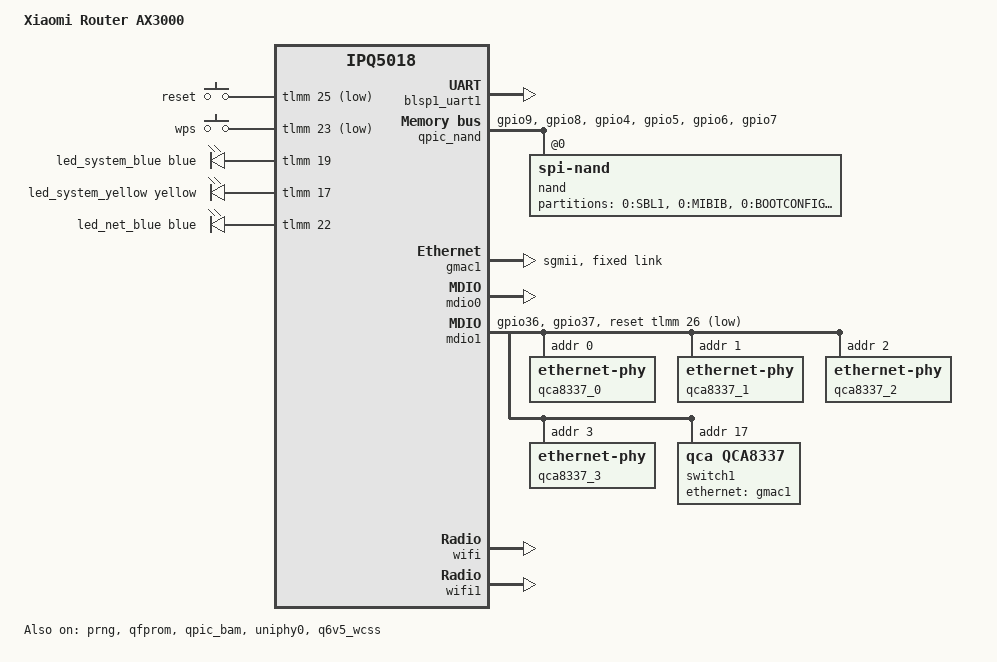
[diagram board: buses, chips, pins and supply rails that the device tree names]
// SPDX-License-Identifier: GPL-2.0-or-later OR MIT

/dts-v1/;

#include "ipq5018.dtsi"
#include "ipq5018-ess.dtsi"
#include "ipq5018-qcn6122.dtsi"

#include <dt-bindings/gpio/gpio.h>
#include <dt-bindings/input/input.h>
#include <dt-bindings/leds/common.h>

/ {
	model = "Xiaomi Router AX3000";
	compatible = "xiaomi,ax3000", "qcom,ipq5018";

	aliases {
		label-mac-device = <&gmac1>;

		led-boot = &led_system_blue;
		led-failsafe = &led_system_yellow;
		led-running = &led_system_blue;
		led-upgrade = &led_system_yellow;

		serial0 = &blsp1_uart1;
	};

	chosen {
		bootargs-append = " console=ttyMSM0,115200n8 ubi.mtd=rootfs ubi.block=0,1 root=/dev/ubiblock0_1 coherent_pool=2M";
		stdout-path = "serial0:115200n8";
	};

	keys {
		compatible = "gpio-keys";
		pinctrl-0 = <&button_pins>;
		pinctrl-names = "default";

		reset {
			label = "reset";
			gpios = <&tlmm 25 GPIO_ACTIVE_LOW>;
			linux,code = <KEY_RESTART>;
			debounce-interval = <60>;
		};

		wps {
			label = "wps";
			gpios = <&tlmm 23 GPIO_ACTIVE_LOW>;
			linux,code = <KEY_WPS_BUTTON>;
			debounce-interval = <60>;
		};
	};

	leds {
		compatible = "gpio-leds";
		pinctrl-0 = <&leds_pins>;
		pinctrl-names = "default";

		led_system_blue: system-blue {
			gpios = <&tlmm 19 GPIO_ACTIVE_HIGH>;
			color = <LED_COLOR_ID_BLUE>;
			function = LED_FUNCTION_STATUS;
			default-state = "off";
		};

		led_system_yellow: system-yellow {
			gpios = <&tlmm 17 GPIO_ACTIVE_HIGH>;
			color = <LED_COLOR_ID_YELLOW>;
			function = LED_FUNCTION_STATUS;
			default-state = "off";
		};

		led_net_blue: net-blue {
			gpios = <&tlmm 22 GPIO_ACTIVE_HIGH>;
			color = <LED_COLOR_ID_BLUE>;
			function = LED_FUNCTION_WAN;
			default-state = "off";
		};
	};
};

&sleep_clk {
	clock-frequency = <32000>;
};

&xo_board_clk {
	clock-div = <4>;
	clock-mult = <1>;
};

&blsp1_uart1 {
	status = "okay";
};

&prng {
	status = "okay";
};

&qfprom {
	status = "okay";
};

&qpic_bam {
	status = "okay";
};

&qpic_nand {
	pinctrl-0 = <&qpic_pins>;
	pinctrl-names = "default";
	status = "okay";

	nand@0 {
		compatible = "spi-nand";
		reg = <0>;
		nand-ecc-engine = <&qpic_nand>;
		nand-bus-width = <8>;

		partitions {
			compatible = "fixed-partitions";
			#address-cells = <1>;
			#size-cells = <1>;

			partition@0 { label = "0:SBL1"; reg = <0x00000000 0x00080000>; read-only; };
			partition@80000 { label = "0:MIBIB"; reg = <0x00080000 0x00080000>; read-only; };
			partition@100000 { label = "0:BOOTCONFIG"; reg = <0x00100000 0x00040000>; read-only; };
			partition@140000 { label = "0:BOOTCONFIG1"; reg = <0x00140000 0x00040000>; read-only; };
			partition@180000 { label = "0:QSEE"; reg = <0x00180000 0x00100000>; read-only; };
			partition@280000 { label = "0:QSEE_1"; reg = <0x00280000 0x00100000>; read-only; };
			partition@380000 { label = "0:DEVCFG"; reg = <0x00380000 0x00040000>; read-only; };
			partition@3c0000 { label = "0:DEVCFG_1"; reg = <0x003c0000 0x00040000>; read-only; };
			partition@400000 { label = "0:CDT"; reg = <0x00400000 0x00040000>; read-only; };
			partition@440000 { label = "0:CDT_1"; reg = <0x00440000 0x00040000>; read-only; };
			partition@480000 { label = "0:APPSBLENV"; reg = <0x00480000 0x00080000>; };
			partition@500000 { label = "0:APPSBL"; reg = <0x00500000 0x00140000>; read-only; };
			partition@640000 { label = "0:APPSBL_1"; reg = <0x00640000 0x00140000>; read-only; };

			partition@780000 {
				label = "0:ART";
				reg = <0x00780000 0x00100000>;
				read-only;

				nvmem-layout {
					compatible = "fixed-layout";
					#address-cells = <1>;
					#size-cells = <1>;

					mac_addr_dp1: mac-address@0 {
						compatible = "mac-base";
						reg = <0x0 0x6>;
						#nvmem-cell-cells = <1>;
					};

					mac_addr_dp2: mac-address@6 {
						compatible = "mac-base";
						reg = <0x6 0x6>;
						#nvmem-cell-cells = <1>;
					};

					caldata_ipq5018: caldata@1000 {
						reg = <0x1000 0x20000>;
					};

					caldata_qcn6122: caldata@26800 {
						reg = <0x26800 0x20000>;
					};
				};
			};

			partition@880000 { label = "0:TRAINING"; reg = <0x00880000 0x00080000>; read-only; };
			partition@900000 { label = "bdata"; reg = <0x00900000 0x00080000>; };
			partition@980000 { label = "crash"; reg = <0x00980000 0x00080000>; };
			partition@a00000 { label = "crash_syslog"; reg = <0x00a00000 0x00080000>; };

			/* 实际刷写位置由 U-Boot 决定：rootfs 在 0x2e80000，36MB */
			partition@2e80000 {
				label = "rootfs";
				reg = <0x02e80000 0x02400000>;
			};

		};
	};
};

&uniphy0 {
	status = "okay";

	assigned-clocks = <&uniphy0 UNIPHY_CLK_REF>;
	assigned-clock-rates = <UNIPHY_REFCLK_25MHZ>;
};

// MAC1 (gmac1) -> SGMII -> QCA8337 CPU port 6
&gmac1 {
	status = "okay";

	phy-mode = "sgmii";

	nvmem-cell-names = "mac-address";
	nvmem-cells = <&mac_addr_dp2 (0)>;

	fixed-link {
		speed = <1000>;
		full-duplex;
	};
};

&mdio0 {
	status = "okay";
};

&mdio1 {
	status = "okay";

	pinctrl-0 = <&mdio1_pins>;
	pinctrl-names = "default";
	reset-gpios = <&tlmm 26 GPIO_ACTIVE_LOW>;

	// QCA8337 PHY0 -> switch port1 -> LAN1
	qca8337_0: ethernet-phy@0 {
		reg = <0>;
	};

	// QCA8337 PHY1 -> switch port2 -> LAN2
	qca8337_1: ethernet-phy@1 {
		reg = <1>;
	};

	// QCA8337 PHY2 -> switch port3 -> LAN3
	qca8337_2: ethernet-phy@2 {
		reg = <2>;
	};

	// QCA8337 PHY3 -> switch port4 -> WAN
	qca8337_3: ethernet-phy@3 {
		reg = <3>;
	};

	// QCA8337 switch (MDIO addr 0x11); CPU port is switch port 6 (SGMII)
	switch1: ethernet-switch@11 {
		compatible = "qca,qca8337";
		reg = <0x11>;
		#address-cells = <1>;
		#size-cells = <0>;

		ethernet-ports {
			#address-cells = <1>;
			#size-cells = <0>;

			ethernet-port@6 {
				reg = <6>;
				phy-mode = "sgmii";
				ethernet = <&gmac1>;
				qca,sgmii-enable-pll;

				fixed-link {
					speed = <1000>;
					full-duplex;
				};
			};

			ethernet-port@1 {
				reg = <1>;
				label = "lan1";
				phy-handle = <&qca8337_0>;
			};

			ethernet-port@2 {
				reg = <2>;
				label = "lan2";
				phy-handle = <&qca8337_1>;
			};

			ethernet-port@3 {
				reg = <3>;
				label = "lan3";
				phy-handle = <&qca8337_2>;
			};

			ethernet-port@4 {
				reg = <4>;
				label = "wan";
				phy-handle = <&qca8337_3>;

				nvmem-cells = <&mac_addr_dp1 (0)>;
				nvmem-cell-names = "mac-address";
			};
		};
	};
};

&q6v5_wcss {
	status = "okay";
};

&wifi {
	status = "okay";

	qcom,rproc = <&q6_wcss_pd1>;
	qcom,ath11k-fw-memory-mode = <2>;
	qcom,bdf-addr = <0x4c400000>;
};

&wifi1 {
	/* 5G(QCN6122)：BDF 走板级 board-2.bin 容器（base-files 里已打包），
	 * 不能用裸 ART 块，否则固件在 phyrf_bdf.c:6245 断言并带崩共用 Q6。
	 */
	status = "okay";

	qcom,rproc = <&q6_wcss_pd2>;
	qcom,userpd-subsys-name = "q6v5_wcss_userpd2";
	qcom,ath11k-fw-memory-mode = <2>;
	qcom,bdf-addr = <0x4d100000>;
	qcom,m3-dump-addr = <0x4df00000>;
};

&tlmm {
	switch_reset_pins: switch-reset-pins {
		pins = "gpio26";
		function = "gpio";
		drive-strength = <8>;
		output-high;
	};

	button_pins: button-pins {
		pins = "gpio25", "gpio23";
		function = "gpio";
		drive-strength = <8>;
		bias-pull-up;
	};

	leds_pins: leds-pins {
		led_blue {
			pins = "gpio19";
			function = "gpio";
			drive-strength = <8>;
			bias-pull-down;
		};

		led_yellow {
			pins = "gpio17";
			function = "gpio";
			drive-strength = <8>;
			bias-pull-down;
		};

		net_blue {
			pins = "gpio22";
			function = "gpio";
			drive-strength = <8>;
			bias-pull-down;
		};
	};

	mdio1_pins: mdio-state {
		mdc-pins {
			pins = "gpio36";
			function = "mdc";
			drive-strength = <8>;
			bias-pull-up;
		};

		mdio-pins {
			pins = "gpio37";
			function = "mdio";
			drive-strength = <8>;
			bias-pull-up;
		};
	};

	qpic_pins: qpic-state {
		clock-pins {
			pins = "gpio9";
			function = "qspi_clk";
			drive-strength = <8>;
			bias-disable;
		};

		cs-pins {
			pins = "gpio8";
			function = "qspi_cs";
			drive-strength = <8>;
			bias-disable;
		};

		data-pins {
			pins = "gpio4", "gpio5", "gpio6", "gpio7";
			function = "qspi_data";
			drive-strength = <8>;
			bias-disable;
		};
	};

	serial_0_pins: uart0-state {
		pins = "gpio28", "gpio29";
		function = "blsp0_uart1";
		drive-strength = <8>;
		bias-disable;
	};
};
